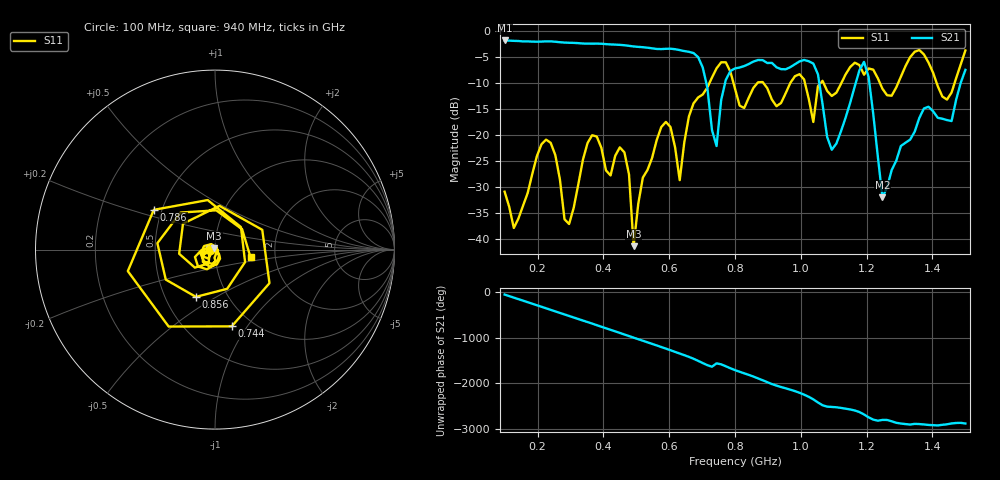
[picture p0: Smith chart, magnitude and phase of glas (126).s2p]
! NanoVNA-App
! Date: 2025-09-25 15:56:27
! Start: 100MHz Stop: 1,5GHz Points: 101
! S-Parameter data: F S11 S21 S12 S22
# Hz S RI R 50
!  Frequency  S11_Real  S11_Imag  S21_Real  S21_Imag  S12_Real  S12_Imag  S22_Real  S22_Imag
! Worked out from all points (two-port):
!   101 points, 100 MHz to 1.5 GHz, reference 50 ohm
!   highest |S21| = -1.80 dB at 100 MHz (marker M1); lowest = -32.0 dB at 1.248 GHz (marker M2)
!   |S21| within 3 dB of the highest: start of sweep to 684.3 MHz
!   lowest |S11| = -41.5 dB at 492 MHz (marker M3), VSWR 1.02, Z = 49.5 + j0.668 ohm
!   |S11| at or under -10 dB: start of sweep to 722.5 MHz; 795.3 MHz to 868.2 MHz (72.87 MHz wide, 8.76 % of centre); 886.2 MHz to 968 MHz (81.79 MHz wide, 8.82 % of centre) (the widest 3 of 7)
!   S12 and S22 are empty: the file has one direction only
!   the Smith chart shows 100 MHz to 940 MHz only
!   S11 on the Smith chart (normalised r, x): 100 MHz: 0.95, -0.01; 744 MHz: 0.80, -0.85; 786 MHz: 0.45, +0.24; 856 MHz: 0.71, -0.41; 940 MHz: 1.49, -0.14
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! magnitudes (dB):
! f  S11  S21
! 100 MHz  -31.0  -1.8
! 128 MHz  -38.0  -1.9
! 226 MHz  -20.9  -2.0
! 296 MHz  -37.2  -2.2
! 338 MHz  -24.8  -2.4
! 464 MHz  -23.4  -2.7
! 492 MHz  -41.5  -3.0
! 576 MHz  -18.5  -3.5
! 632 MHz  -28.7  -3.7
! 702 MHz  -12.2  -7.0
! 744 MHz  -7.2  -22.2
! 786 MHz  -7.8  -7.7
! 800 MHz  -11.1  -7.2
! 856 MHz  -10.9  -5.9
! 940 MHz  -13.9  -7.3
! 996 MHz  -8.3  -5.8
! 1.038 GHz  -17.5  -6.3
! 1.094 GHz  -12.5  -22.9
! 1.192 GHz  -8.4  -5.9
! 1.248 GHz  -11.1  -32.0
! 1.276 GHz  -12.4  -26.8
! 1.5 GHz  -3.7  -7.5
